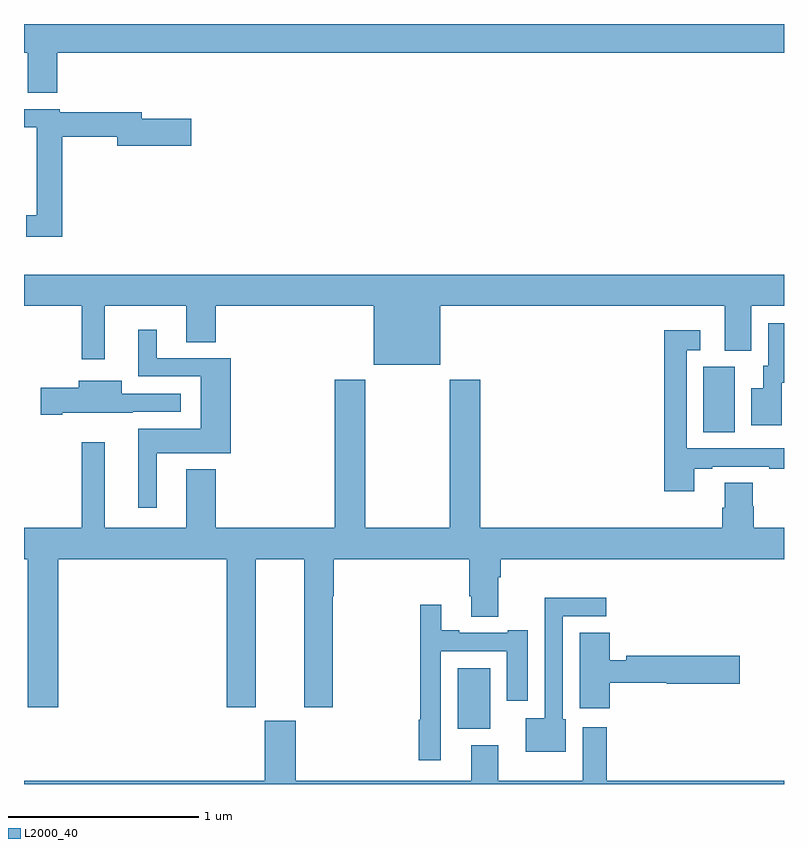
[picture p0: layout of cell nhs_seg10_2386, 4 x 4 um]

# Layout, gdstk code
import gdstk
lib = gdstk.Library(unit=1e-6, precision=1e-09)
def R(c, l, rs):  # rectangles x0, y0, x1, y1
    for r in rs: c.add(gdstk.rectangle(r[:2], r[2:], *l))
def P(c, l, *ps):  # polygons
    for p in ps: c.add(gdstk.Polygon(p, *l))
L2000_40 = (2000, 40)

nhs_seg10_2386 = lib.new_cell('nhs_seg10_2386')
R(nhs_seg10_2386, L2000_40, [(241.283,1264.79,241.453,1265.11), (242.576,1266.352,242.74,1266.696)])
P(nhs_seg10_2386, L2000_40, [(239.174,1268.348),(243,1268.348),(243,1268.5),(239,1268.5),(239,1268.348),(239.021,1268.348),(239.021,1268.137),(239.174,1268.137)],
  [(239.201,1267.906),(239.492,1267.906),(239.492,1267.859),(239.881,1267.859),(239.881,1268.001),(239.62,1268.001),(239.62,1268.035),(239.188,1268.035),(239.188,1268.052),(239,1268.052),(239,1267.956),(239.066,1267.956),(239.066,1267.493),(239.013,1267.493),(239.013,1267.38),(239.201,1267.38)],
  [(241.192,1267.016),(242.687,1267.016),(242.687,1266.781),(242.827,1266.781),(242.827,1267.016),(243,1267.016),(243,1267.18),(239,1267.18),(239,1267.016),(239.304,1267.016),(239.304,1266.735),(239.425,1266.735),(239.425,1267.016),(239.855,1267.016),(239.855,1266.826),(240.008,1266.826),(240.008,1267.016),(240.842,1267.016),(240.842,1266.707),(241.192,1266.707)],
  [(242.989,1266.612),(243,1266.612),(243,1266.924),(242.916,1266.924),(242.916,1266.702),(242.891,1266.702),(242.891,1266.583),(242.828,1266.583),(242.828,1266.387),(242.989,1266.387)],
  [(239.698,1266.242),(240.089,1266.242),(240.089,1266.741),(239.698,1266.741),(239.698,1266.892),(239.6,1266.892),(239.6,1266.645),(239.93,1266.645),(239.93,1266.37),(239.704,1266.37),(239.704,1266.369),(239.602,1266.369),(239.602,1266.266),(239.6,1266.266),(239.6,1265.955),(239.698,1265.955)],
  [(242.527,1266.159),(242.623,1266.159),(242.623,1266.171),(242.923,1266.171),(242.923,1266.159),(243,1266.159),(243,1266.267),(242.487,1266.267),(242.487,1266.783),(242.56,1266.783),(242.56,1266.889),(242.371,1266.889),(242.371,1266.042),(242.527,1266.042)],
  [(241.4,1266.628),(241.24,1266.628),(241.24,1265.848),(240.795,1265.848),(240.795,1266.628),(240.635,1266.628),(240.635,1265.848),(240.008,1265.848),(240.008,1266.157),(239.855,1266.157),(239.855,1265.848),(239.425,1265.848),(239.425,1266.298),(239.304,1266.298),(239.304,1265.848),(239,1265.848),(239,1265.684),(239.02,1265.684),(239.02,1264.905),(239.18,1264.905),(239.18,1265.684),(240.068,1265.684),(240.068,1264.905),(240.22,1264.905),(240.22,1265.684),(240.476,1265.684),(240.476,1264.905),(240.624,1264.905),(240.624,1265.488),(240.629,1265.488),(240.629,1265.684),(241.343,1265.684),(241.343,1265.488),(241.355,1265.488),(241.355,1265.38),(241.495,1265.38),(241.495,1265.588),(241.508,1265.588),(241.508,1265.684),(243,1265.684),(243,1265.848),(242.84,1265.848),(242.84,1265.961),(242.835,1265.961),(242.835,1266.086),(242.687,1266.086),(242.687,1265.954),(242.675,1265.954),(242.675,1265.848),(241.4,1265.848)],
  [(239.2,1266.455),(239.572,1266.455),(239.572,1266.459),(239.824,1266.459),(239.824,1266.555),(239.515,1266.555),(239.515,1266.622),(239.288,1266.622),(239.288,1266.585),(239.088,1266.585),(239.088,1266.443),(239.2,1266.443)],
  [(241.852,1264.842),(241.836,1264.842),(241.836,1265.382),(242.065,1265.382),(242.065,1265.48),(241.74,1265.48),(241.74,1264.846),(241.64,1264.846),(241.64,1264.67),(241.852,1264.67)],
  [(241.194,1265.199),(241.541,1265.199),(241.541,1264.938),(241.651,1264.938),(241.651,1265.308),(241.547,1265.308),(241.547,1265.295),(241.291,1265.295),(241.291,1265.308),(241.195,1265.308),(241.195,1265.443),(241.086,1265.443),(241.086,1264.838),(241.078,1264.838),(241.078,1264.626),(241.194,1264.626)],
  [(242.082,1265.032),(242.382,1265.032),(242.382,1265.027),(242.767,1265.027),(242.767,1265.174),(242.17,1265.174),(242.17,1265.151),(242.082,1265.151),(242.082,1265.297),(241.925,1265.297),(241.925,1264.899),(242.082,1264.899)],
  [(243,1264.516),(242.066,1264.516),(242.066,1264.798),(241.94,1264.798),(241.94,1264.516),(241.495,1264.516),(241.495,1264.705),(241.355,1264.705),(241.355,1264.516),(240.43,1264.516),(240.43,1264.833),(240.266,1264.833),(240.266,1264.516),(239,1264.516),(239,1264.5),(243,1264.5)])

lib.write_gds('nhs_seg10_2386.gds')
